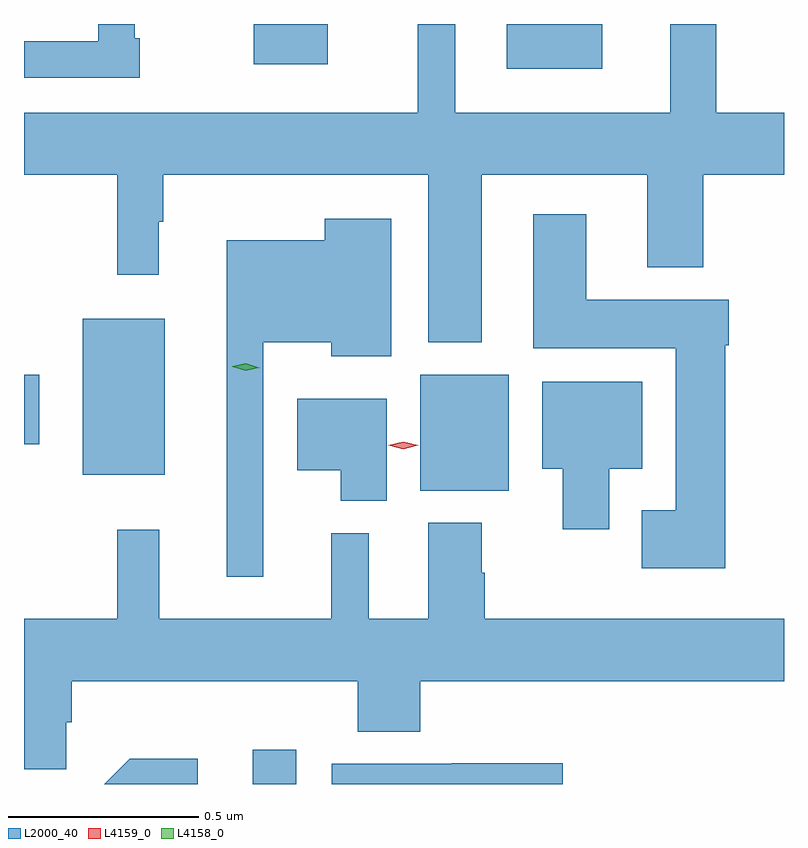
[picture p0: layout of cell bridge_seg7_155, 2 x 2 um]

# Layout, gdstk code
import gdstk
lib = gdstk.Library(unit=1e-6, precision=1e-09)
def R(c, l, rs):  # rectangles x0, y0, x1, y1
    for r in rs: c.add(gdstk.rectangle(r[:2], r[2:], *l))
def P(c, l, *ps):  # polygons
    for p in ps: c.add(gdstk.Polygon(p, *l))
L2000_40 = (2000, 40)
L4158_0 = (4158, 0)
L4159_0 = (4159, 0)

bridge_seg7_155 = lib.new_cell('bridge_seg7_155')
R(bridge_seg7_155, L2000_40, [(588.047,1053.625,588.162,1053.715), (588.488,1054.397,588.721,1054.702), (587.6,1054.439,587.815,1054.849), (587.445,1054.519,587.485,1054.702), (588.716,1055.507,588.967,1055.625), (588.05,1055.519,588.244,1055.625)])
P(bridge_seg7_155, L2000_40, [(588.649,1055.228),(589.085,1055.228),(589.085,1054.985),(589.233,1054.985),(589.233,1055.228),(589.445,1055.228),(589.445,1055.392),(589.267,1055.392),(589.267,1055.625),(589.145,1055.625),(589.145,1055.392),(588.58,1055.392),(588.58,1055.625),(588.481,1055.625),(588.481,1055.392),(587.445,1055.392),(587.445,1055.228),(587.691,1055.228),(587.691,1054.965),(587.8,1054.965),(587.8,1055.105),(587.812,1055.105),(587.812,1055.228),(588.509,1055.228),(588.509,1054.787),(588.649,1054.787)],
  [(587.749,1055.587),(587.736,1055.587),(587.736,1055.625),(587.64,1055.625),(587.64,1055.58),(587.445,1055.58),(587.445,1055.484),(587.749,1055.484)],
  [(589.29,1054.779),(589.3,1054.779),(589.3,1054.9),(588.925,1054.9),(588.925,1055.125),(588.785,1055.125),(588.785,1054.772),(589.16,1054.772),(589.16,1054.345),(589.07,1054.345),(589.07,1054.193),(589.29,1054.193)],
  [(588.075,1054.787),(588.254,1054.787),(588.254,1054.751),(588.412,1054.751),(588.412,1055.113),(588.237,1055.113),(588.237,1055.056),(587.978,1055.056),(587.978,1054.17),(588.075,1054.17)],
  [(588.985,1054.454),(589.072,1054.454),(589.072,1054.684),(588.809,1054.684),(588.809,1054.454),(588.863,1054.454),(588.863,1054.296),(588.985,1054.296)],
  [(588.4,1054.639),(588.164,1054.639),(588.164,1054.451),(588.278,1054.451),(588.278,1054.37),(588.4,1054.37)],
  [(587.556,1053.787),(587.57,1053.787),(587.57,1053.896),(588.323,1053.896),(588.323,1053.763),(588.488,1053.763),(588.488,1053.896),(589.445,1053.896),(589.445,1054.06),(588.657,1054.06),(588.657,1054.181),(588.649,1054.181),(588.649,1054.312),(588.509,1054.312),(588.509,1054.06),(588.352,1054.06),(588.352,1054.285),(588.254,1054.285),(588.254,1054.06),(587.801,1054.06),(587.801,1054.294),(587.691,1054.294),(587.691,1054.06),(587.445,1054.06),(587.445,1053.664),(587.556,1053.664)],
  [(587.902,1053.692),(587.723,1053.692),(587.656,1053.625),(587.902,1053.625)],
  [(588.863,1053.68),(588.571,1053.68),(588.571,1053.678),(588.255,1053.678),(588.255,1053.625),(588.863,1053.625)])
P(bridge_seg7_155, L4158_0, [(588.028,1054.712),(587.993,1054.723),(587.993,1054.724),(587.993,1054.724),(588.029,1054.732),(588.064,1054.72),(588.065,1054.72),(588.064,1054.72)])
P(bridge_seg7_155, L4159_0, [(588.443,1054.506),(588.404,1054.516),(588.404,1054.516),(588.404,1054.517),(588.443,1054.526),(588.482,1054.517),(588.482,1054.516),(588.482,1054.516)])

lib.write_gds('bridge_seg7_155.gds')
